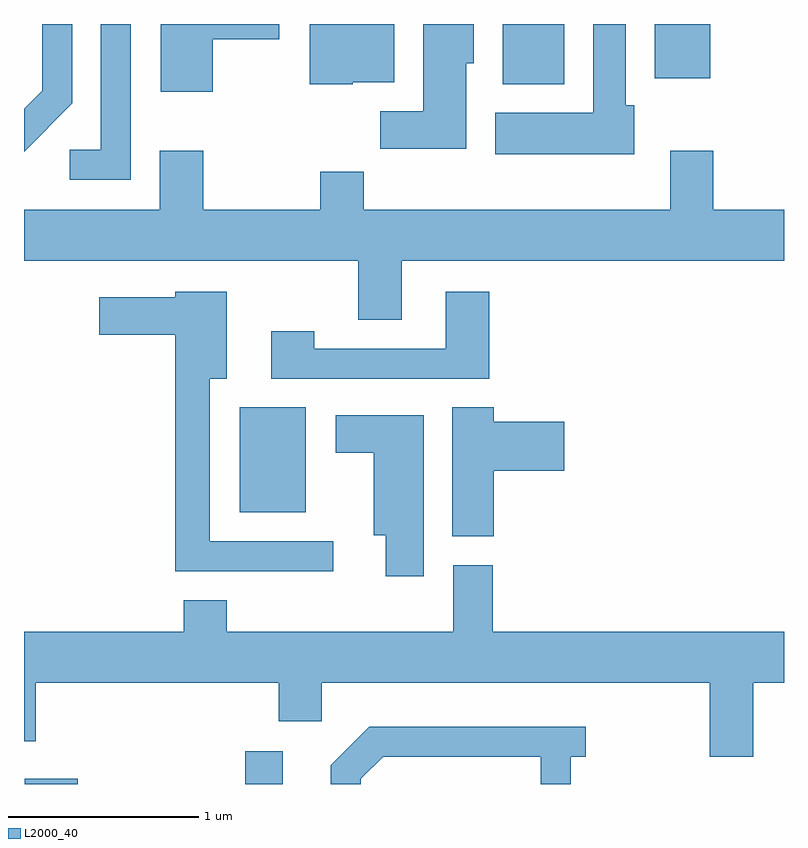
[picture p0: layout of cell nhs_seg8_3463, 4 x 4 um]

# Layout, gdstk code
import gdstk
lib = gdstk.Library(unit=1e-6, precision=1e-09)
def R(c, l, rs):  # rectangles x0, y0, x1, y1
    for r in rs: c.add(gdstk.rectangle(r[:2], r[2:], *l))
def P(c, l, *ps):  # polygons
    for p in ps: c.add(gdstk.Polygon(p, *l))
L2000_40 = (2000, 40)

nhs_seg8_3463 = lib.new_cell('nhs_seg8_3463')
R(nhs_seg8_3463, L2000_40, [(289.616,1820.342,289.894,1820.369), (290.776,1820.342,290.974,1820.514), (290.746,1821.771,291.094,1822.324), (292.131,1824.026,292.454,1824.342), (292.931,1824.056,293.224,1824.342)])
P(nhs_seg8_3463, L2000_40, [(290.604,1824.261),(290.954,1824.261),(290.954,1824.342),(290.331,1824.342),(290.331,1823.986),(290.604,1823.986)],
  [(289.864,1823.924),(289.864,1824.342),(289.706,1824.342),(289.706,1823.992),(289.611,1823.896),(289.611,1823.67)],
  [(290.174,1824.342),(290.016,1824.342),(290.016,1823.679),(289.853,1823.679),(289.853,1823.521),(290.174,1823.521)],
  [(292.824,1823.914),(292.779,1823.914),(292.779,1824.342),(292.606,1824.342),(292.606,1823.874),(292.091,1823.874),(292.091,1823.656),(292.824,1823.656)],
  [(291.939,1824.136),(291.979,1824.136),(291.979,1824.342),(291.711,1824.342),(291.711,1823.884),(291.486,1823.884),(291.486,1823.686),(291.939,1823.686)],
  [(291.34,1824.036),(291.559,1824.036),(291.559,1824.342),(291.116,1824.342),(291.116,1824.026),(291.34,1824.026)],
  [(291.599,1823.096),(293.611,1823.096),(293.611,1823.364),(293.239,1823.364),(293.239,1823.674),(293.011,1823.674),(293.011,1823.364),(291.399,1823.364),(291.399,1823.564),(291.171,1823.564),(291.171,1823.364),(290.554,1823.364),(290.554,1823.674),(290.326,1823.674),(290.326,1823.364),(289.611,1823.364),(289.611,1823.096),(291.371,1823.096),(291.371,1822.786),(291.599,1822.786)],
  [(292.059,1822.934),(291.831,1822.934),(291.831,1822.634),(291.139,1822.634),(291.139,1822.724),(290.911,1822.724),(290.911,1822.476),(292.059,1822.476)],
  [(291.238,1821.619),(290.589,1821.619),(290.589,1822.476),(290.679,1822.476),(290.679,1822.934),(290.406,1822.934),(290.406,1822.904),(290.006,1822.904),(290.006,1822.706),(290.406,1822.706),(290.406,1821.461),(291.238,1821.461)],
  [(292.084,1821.991),(292.454,1821.991),(292.454,1822.249),(292.084,1822.249),(292.084,1822.324),(291.866,1822.324),(291.866,1821.646),(292.084,1821.646)],
  [(291.714,1822.284),(291.251,1822.284),(291.251,1822.086),(291.451,1822.086),(291.451,1821.651),(291.516,1821.651),(291.516,1821.436),(291.714,1821.436)],
  [(290.679,1821.309),(290.451,1821.309),(290.451,1821.144),(289.611,1821.144),(289.611,1820.566),(289.674,1820.566),(289.674,1820.876),(290.951,1820.876),(290.951,1820.671),(291.179,1820.671),(291.179,1820.876),(293.221,1820.876),(293.221,1820.486),(293.449,1820.486),(293.449,1820.876),(293.611,1820.876),(293.611,1821.144),(292.079,1821.144),(292.079,1821.494),(291.871,1821.494),(291.871,1821.144),(290.679,1821.144)],
  [(291.384,1820.369),(291.502,1820.486),(292.331,1820.486),(292.331,1820.342),(292.489,1820.342),(292.489,1820.486),(292.568,1820.486),(292.568,1820.644),(291.429,1820.644),(291.226,1820.442),(291.226,1820.342),(291.384,1820.342)])

lib.write_gds('nhs_seg8_3463.gds')
